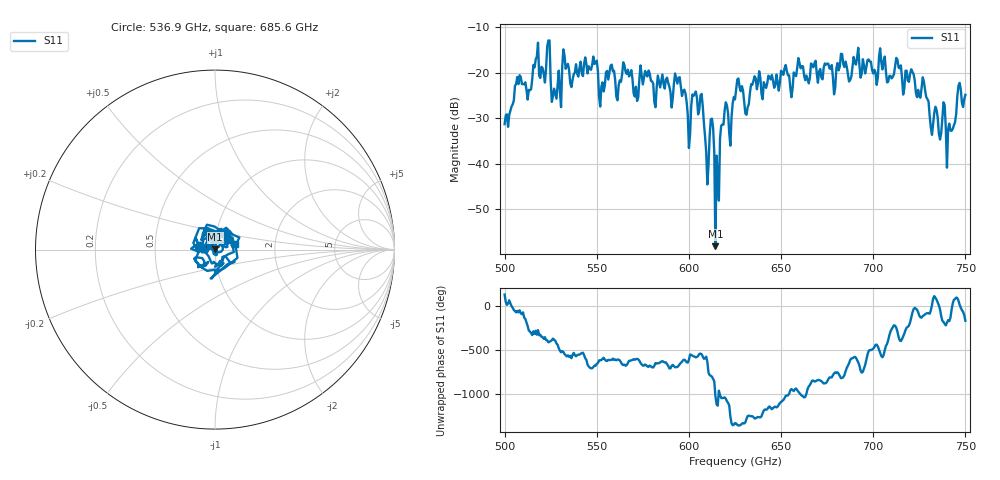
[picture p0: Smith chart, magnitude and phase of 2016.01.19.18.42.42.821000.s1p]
!Created with skrf (http://scikit-rf.org).
# GHz S RI R 50.0
!freq ReS11 ImS11
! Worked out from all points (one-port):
!   401 points, 500 GHz to 750 GHz, reference 50 ohm
!   lowest |S11| = -58.1 dB at 614.4 GHz (marker M1), VSWR 1.00, Z = 50.1 + j0.107 ohm
!   |S11| at or under -10 dB: start of sweep to end of sweep
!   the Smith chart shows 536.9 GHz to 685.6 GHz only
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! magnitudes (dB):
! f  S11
! 500 GHz  -31.3
! 507.5 GHz  -22.5
! 513.8 GHz  -23.8
! 516.9 GHz  -17.0
! 523.8 GHz  -12.9
! 526.9 GHz  -23.5
! 531.2 GHz  -18.7
! 548.8 GHz  -18.0
! 552.5 GHz  -23.0
! 562.5 GHz  -21.6
! 593.8 GHz  -22.3
! 600 GHz  -36.5
! 603.1 GHz  -24.6
! 606.9 GHz  -24.6
! 610 GHz  -44.5
! 612.5 GHz  -30.1
! 614.4 GHz  -58.1
! 615.6 GHz  -42.6
! 618.8 GHz  -31.4
! 622.5 GHz  -36.0
! 625 GHz  -25.8
! 656.2 GHz  -23.4
! 660.6 GHz  -19.0
! 687.5 GHz  -21.6
! 718.8 GHz  -21.7
! 741.2 GHz  -31.1
! 746.2 GHz  -22.8
! 750 GHz  -24.8
